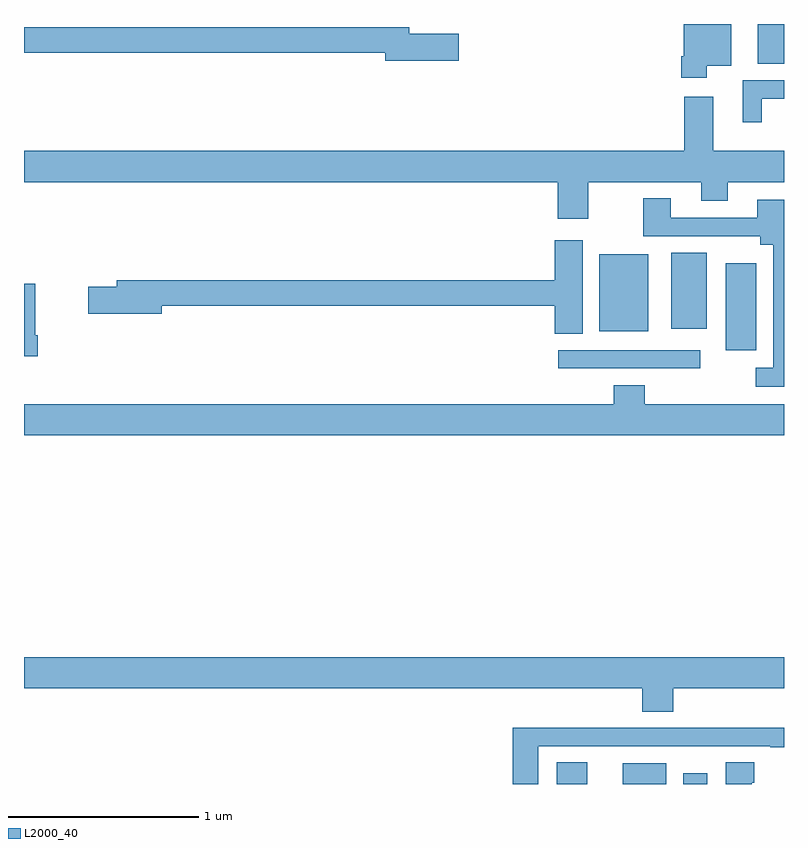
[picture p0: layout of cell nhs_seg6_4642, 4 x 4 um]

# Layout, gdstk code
import gdstk
lib = gdstk.Library(unit=1e-6, precision=1e-09)
def R(c, l, rs):  # rectangles x0, y0, x1, y1
    for r in rs: c.add(gdstk.rectangle(r[:2], r[2:], *l))
def P(c, l, *ps):  # polygons
    for p in ps: c.add(gdstk.Polygon(p, *l))
L2000_40 = (2000, 40)

nhs_seg6_4642 = lib.new_cell('nhs_seg6_4642')
R(nhs_seg6_4642, L2000_40, [(387.803,945.5,387.964,945.614), (388.151,945.5,388.381,945.61), (388.469,945.5,388.597,945.556), (387.813,947.688,388.558,947.784), (388.694,947.783,388.855,948.241), (388.028,947.882,388.285,948.289), (388.406,947.897,388.594,948.295), (388.862,949.292,389,949.5)])
P(nhs_seg6_4642, L2000_40, [(388.594,949.28),(388.723,949.28),(388.723,949.5),(388.472,949.5),(388.472,949.33),(388.46,949.33),(388.46,949.218),(388.594,949.218)],
  [(387.289,949.448),(387.028,949.448),(387.028,949.484),(385,949.484),(385,949.348),(386.9,949.348),(386.9,949.306),(387.289,949.306)],
  [(388.882,949.107),(389,949.107),(389,949.203),(388.784,949.203),(388.784,948.984),(388.882,948.984)],
  [(387.969,948.668),(388.565,948.668),(388.565,948.569),(388.705,948.569),(388.705,948.668),(389,948.668),(389,948.832),(388.627,948.832),(388.627,949.117),(388.475,949.117),(388.475,948.832),(385,948.832),(385,948.668),(387.809,948.668),(387.809,948.474),(387.969,948.474)],
  [(389,948.574),(388.859,948.574),(388.859,948.48),(388.405,948.48),(388.405,948.583),(388.258,948.583),(388.258,948.384),(388.874,948.384),(388.874,948.338),(388.944,948.338),(388.944,947.692),(388.851,947.692),(388.851,947.592),(389,947.592)],
  [(387.94,948.361),(387.794,948.361),(387.794,948.152),(385.487,948.152),(385.487,948.116),(385.338,948.116),(385.338,947.974),(385.726,947.974),(385.726,948.016),(387.794,948.016),(387.794,947.869),(387.94,947.869)],
  [(385.073,947.863),(385.06,947.863),(385.06,948.132),(385,948.132),(385,947.751),(385.073,947.751)],
  [(389,947.5),(388.268,947.5),(388.268,947.599),(388.103,947.599),(388.103,947.5),(385,947.5),(385,947.336),(389,947.336)],
  [(388.418,946.004),(389,946.004),(389,946.168),(385,946.168),(385,946.004),(388.253,946.004),(388.253,945.88),(388.418,945.88)],
  [(387.706,945.699),(388.927,945.699),(388.927,945.694),(389,945.694),(389,945.797),(388.501,945.797),(388.501,945.795),(388.169,945.795),(388.169,945.797),(387.572,945.797),(387.572,945.5),(387.706,945.5)],
  [(388.831,945.506),(388.844,945.506),(388.844,945.614),(388.694,945.614),(388.694,945.5),(388.831,945.5)])

lib.write_gds('nhs_seg6_4642.gds')
